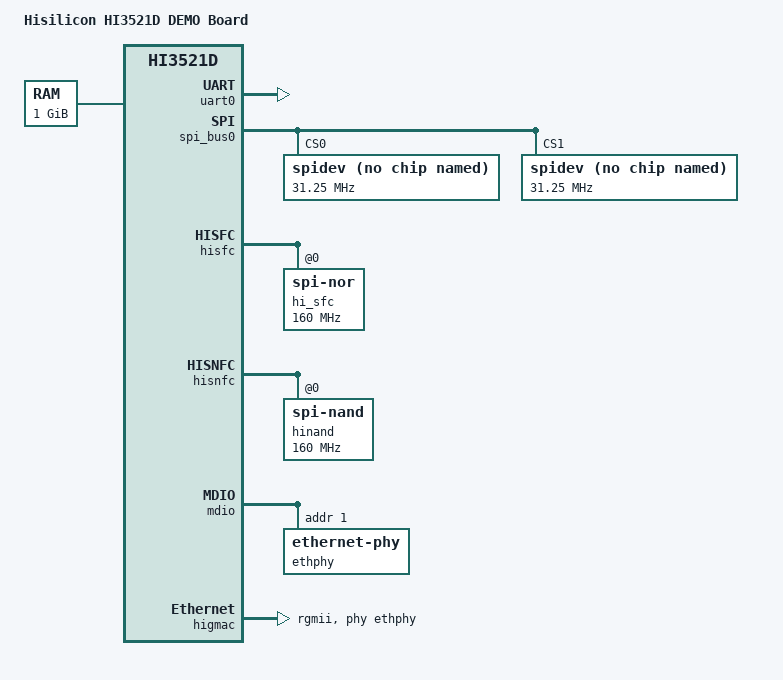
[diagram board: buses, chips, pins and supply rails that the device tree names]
/*
 * Copyright (c) 2013-2014 Linaro Ltd.
 * Copyright (c) 2015-2017 HiSilicon Technologies Co., Ltd.
 *
 * This program is free software; you can redistribute  it and/or modify it
 * under  the terms of  the GNU General  Public License as published by the
 * Free Software Foundation;  either version 2 of the  License, or (at your
 * option) any later version.
 *
 * This program is distributed in the hope that it will be useful,
 * but WITHOUT ANY WARRANTY; without even the implied warranty of
 * MERCHANTABILITY or FITNESS FOR A PARTICULAR PURPOSE. See the
 * GNU General Public License for more details.
 *
 * You should have received a copy of the GNU General Public License
 * along with this program.  If not, see <http://www.gnu.org/licenses/>.
 *
 */

/dts-v1/;
#include "hi3521d.dtsi"

/ {
	model = "Hisilicon HI3521D DEMO Board";
	compatible = "hisilicon,hi3521d";

	cpus {
		#address-cells = <1>;
		#size-cells = <0>;
		enable-method = "hisilicon,hi3521d-smp";

		cpu@0 {
			compatible = "arm,cortex-a7";
			device_type = "cpu";
			clock-frequency = <HI3521D_FIXED_1500M>;
			reg = <0>;
		};

		cpu@1 {
			compatible = "arm,cortex-a7";
			device_type = "cpu";
			clock-frequency = <HI3521D_FIXED_1500M>;
			reg = <1>;
		};
	};

	memory {
		device_type = "memory";
		reg = <0x80000000 0x40000000>;
	};
};

&uart0 {
	status = "okay";
};

&spi_bus0{
	status = "okay";
	num-cs = <2>;

	spidev@0 {
		compatible = "spidev";
		reg = <0>;
		pl022,interface = <0>;
		pl022,com-mode = <0>;
		spi-max-frequency = <31250000>;
	};

	spidev@1 {
		compatible = "spidev";
		reg = <1>;
		pl022,interface = <0>;
		pl022,com-mode = <0>;
		spi-max-frequency = <31250000>;
	};
};

&hisfc {
	hi_sfc {
		compatible = "jedec,spi-nor";
		reg = <0>;
		spi-max-frequency = <160000000>;
		m25p,fast-read;
	};
};

&hisnfc {
	hinand {
		compatible = "jedec,spi-nand";
		reg = <0>;
		spi-max-frequency = <160000000>;
	};
};

&hidmac {
    status = "okay";
};

&mdio {
	ethphy: ethernet-phy@1 {
		reg = <1>;
	};
};

&higmac {
	phy-handle = <&ethphy>;
	phy-mode = "rgmii";
};

&pmux {

	viadclk_demob_pmux: viadclk_demob_pmux{
		pinctrl-single,pins = <
			0x0000 0x2
			0x0024 0x2
			0x0048 0x2
			0x0070 0x2
			0x0094 0x2
		>;
	};

	viadclk_sck_pmux: viadclk_sck_pmux{
		pinctrl-single,pins = <
			0x0000 0x2
			0x004c 0x2
			0x0024 0x2
			0x0048 0x2
			0x0070 0x2
			0x0094 0x2
		>;
	};

	vicap_demob_pmux: vicap_demob_pmux{
		pinctrl-single,pins = <
			0x0004 0x1
			0x0008 0x1
			0x000c 0x1
			0x0010 0x1
			0x0014 0x1
			0x0018 0x1
			0x001c 0x1
			0x0020 0x1
			0x0028 0x1
			0x002c 0x1
			0x0030 0x1
			0x0034 0x1
			0x0038 0x1
			0x003c 0x1
			0x0040 0x1
			0x0044 0x1
			0x0050 0x1
			0x0054 0x1
			0x0058 0x1
			0x005c 0x1
			0x0060 0x1
			0x0064 0x1
			0x0068 0x1
			0x006c 0x1
			0x0074 0x1
			0x0078 0x1
			0x007c 0x1
			0x0080 0x1
			0x0084 0x1
			0x0088 0x1
			0x008c 0x1
			0x0090 0x1
		>;
	};

	vo_vga_pmux: vo_vga_pmux{
		pinctrl-single,pins = <
			0x0174 0x1
			0x017c 0x1
			0x0180 0x1
		>;
	};

	vo_hdmi_pmux: vo_hdmi_pmux{
		pinctrl-single,pins = <
			0x0098 0x1
			0x009c 0X1
		>;
	};

	i2s0_pmux: i2s0_pmux {
		pinctrl-single,pins = <
			0x00a0 0x1
			0x00a4 0x1
			0x00a8 0x1
		>;
	};

	i2s1_pmux: i2s1_pmux {
		pinctrl-single,pins = <
			0x00b0 0x1
			0x00b4 0x1
		>;
	};

	i2s2_demob_pmux: i2s2_demob_pmux {
		pinctrl-single,pins = <
			0x00b8 0x1
			0x00bc 0x1
			0x00c0 0x1
		>;
	};

	i2s2_sck_pmux: i2s2_sck_pmux {
		pinctrl-single,pins = <
			0x00b8 0x1
			0x00bc 0x1
			0x00c0 0x1
			0x00ac 0x2
		>;
	};
};

&sys_config_ctrl {
	padctrl-ability,demo = <
		0x120f08a0 0x120
		0x120f08a4 0x130
		0x120f08a8 0x130
		0x120f08ac 0x120
		0x120f08b0 0x130
		0x120f08b4 0x130
		0x120f08b8 0x120
		0x120f08bc 0x130
		0x120f08c0 0x130
		0x120f0800 0x140
		0x120f084c 0x140
		0x120f0898 0x40
		0x120f089c 0x40
	>;

	sysctrl-ddr,pins = <
		0x12040098 0x00ffff1f
		0x1204009c 0x8888
		0x12040168 0x00000f55
		0x1212007c 0x35533201
		0x12120080 0x65335526
		0x12120084 0x66666666
		0x12120094 0x65       /*VIVO axi max: 7*/
	>;
	dllctrl-ddr,pins = <
		0x120401e0 0x0      /*DLL rst, disable*/
		0x120401ec 0x0
		0x120401f8 0x0
		0x12040204 0x0
	        0x120401e0 0x4      /*DLL rst, disable*/
		0x120401ec 0x4
		0x120401f8 0x4
		0x12040204 0x4
		0x120401e0 0x6       /*DLL 150M and DLL rst, disable*/
		0x120401ec 0x6
		0x120401f8 0x6
		0x12040204 0x6
	        0x120401e0 0x7       /*DLL 150M and DLL rst, enable*/
		0x120401ec 0x7
		0x120401f8 0x7
		0x12040204 0x7
	        0x120401e0 0x3       /*DLL 150M and DLL unrst, enable*/
		0x120401ec 0x3
		0x120401f8 0x3
		0x12040204 0x3
		0x120401e4 0x10      /*dll_slave_en:1,dll_stop:0*/
		0x120401F0 0x10
		0x120401fC 0x10
		0x12040208 0x10
	>;

	pinctrl-names =  "demo", "sck", "default";
	pinctrl-0 = <&viadclk_demob_pmux &vicap_demob_pmux &i2s0_pmux  &i2s2_demob_pmux &vo_hdmi_pmux &vo_vga_pmux>;
	pinctrl-1 = <&viadclk_sck_pmux   &vicap_demob_pmux &i2s0_pmux  &i2s1_pmux &i2s2_sck_pmux &vo_hdmi_pmux &vo_vga_pmux >;
	pinctrl-2 = <>;
};
